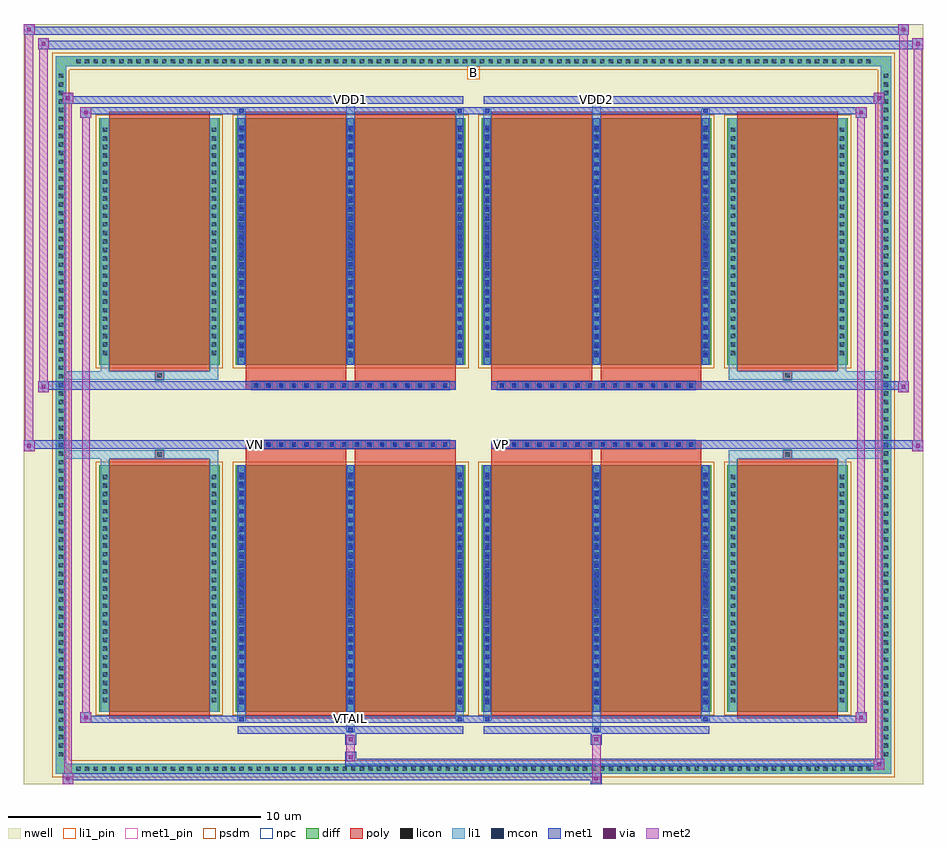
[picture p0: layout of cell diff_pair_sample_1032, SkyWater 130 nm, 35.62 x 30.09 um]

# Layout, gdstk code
import gdstk
lib = gdstk.Library(unit=1e-6, precision=5e-09)
def R(c, l, rs):  # rectangles x0, y0, x1, y1
    for r in rs: c.add(gdstk.rectangle(r[:2], r[2:], *l))
def A(c, l, x, y, w, h, nx, ny, dx, dy):  # array of equal rectangles
    R(c, l, [(x+i*dx, y+j*dy, x+i*dx+w, y+j*dy+h) for i in range(nx) for j in range(ny)])
def P(c, l, *ps):  # polygons
    for p in ps: c.add(gdstk.Polygon(p, *l))
nwell = (64, 20)
diff = (65, 20)
poly = (66, 20)
licon = (66, 44)
li1_pin = (67, 16)
li1 = (67, 20)
mcon = (67, 44)
met1_pin = (68, 16)
met1 = (68, 20)
via = (68, 44)
met2 = (69, 20)
psdm = (94, 20)
npc = (95, 20)

diff_pair_sample_1032 = lib.new_cell('diff_pair_sample_1032')
R(diff_pair_sample_1032, nwell, [(-17.81,-14.61,17.81,15.48), (-15.13,-12.8,-0.01,-0.8), (0.01,-12.8,15.13,-0.8), (-15.13,0.8,-0.01,12.8), (0.01,0.8,15.13,12.8)])
A(diff_pair_sample_1032, diff, -15.845, -14.21, 0.41, 0.41, 93, 2, 0.34, 28.01)
A(diff_pair_sample_1032, diff, -16.54, -13.635, 0.41, 0.41, 1, 80, 0, 0.34)
A(diff_pair_sample_1032, diff, 16.13, -13.635, 0.41, 0.41, 1, 80, 0, 0.34)
R(diff_pair_sample_1032, diff, [(-15.845,-14.21,15.845,-13.8), (-16.54,-13.635,-16.13,13.635), (16.13,-13.635,16.54,13.635), (-14.82,-11.755,-10.05,-1.985), (-9.41,-11.755,-0.32,-1.985), (0.32,-11.755,9.41,-1.985), (10.05,-11.755,14.82,-1.985), (-14.82,1.985,-10.05,11.755), (-9.41,1.985,-0.32,11.755), (0.32,1.985,9.41,11.755), (10.05,1.985,14.82,11.755), (-15.845,13.8,15.845,14.21)])
P(diff_pair_sample_1032, diff, [(16.54,14.21),(-16.54,14.21),(-16.54,-13.8),(-16.13,-13.8),(-16.13,13.8),(16.13,13.8),(16.13,-13.8),(-16.13,-13.8),(-16.54,-13.8),(-16.54,-14.21),(16.54,-14.21)])
A(diff_pair_sample_1032, poly, -8.78, -1.33, 0.33, 0.33, 16, 2, 0.5, 2.33)
A(diff_pair_sample_1032, poly, 0.95, -1.33, 0.33, 0.33, 16, 2, 0.5, 2.33)
R(diff_pair_sample_1032, poly, [(-14.43,-12.005,-10.44,-1.735), (-9.02,-12.005,-5.03,-1.735), (-4.7,-12.005,-0.71,-1.735), (0.71,-12.005,4.7,-1.735), (5.03,-12.005,9.02,-1.735), (10.44,-12.005,14.43,-1.735), (-12.6,-1.735,-12.27,-1.405), (-12.6,-1.735,-12.27,-1.405), (-9.02,-1.735,-5.03,-1.33), (-4.7,-1.735,-0.71,-1.33), (0.71,-1.735,4.7,-1.33), (5.03,-1.735,9.02,-1.33), (12.27,-1.735,12.6,-1.405), (12.27,-1.735,12.6,-1.405), (-9.02,-1.33,-0.71,-1), (0.71,-1.33,9.02,-1), (-9.02,1,-0.71,1.33), (0.71,1,9.02,1.33), (-9.02,1.33,-5.03,1.735), (-4.7,1.33,-0.71,1.735), (0.71,1.33,4.7,1.735), (5.03,1.33,9.02,1.735), (-12.6,1.405,-12.27,1.735), (-12.6,1.405,-12.27,1.735), (12.27,1.405,12.6,1.735), (12.27,1.405,12.6,1.735), (-14.43,1.735,-10.44,12.005), (-9.02,1.735,-5.03,12.005), (-4.7,1.735,-0.71,12.005), (0.71,1.735,4.7,12.005), (5.03,1.735,9.02,12.005), (10.44,1.735,14.43,12.005)])
A(diff_pair_sample_1032, licon, -15.725, -14.09, 0.17, 0.17, 93, 2, 0.34, 28.01)
A(diff_pair_sample_1032, licon, -16.42, -13.515, 0.17, 0.17, 1, 80, 0, 0.34)
A(diff_pair_sample_1032, licon, 16.25, -13.515, 0.17, 0.17, 1, 80, 0, 0.34)
A(diff_pair_sample_1032, licon, -14.68, -11.375, 0.17, 0.17, 1, 27, 0, 0.34)
A(diff_pair_sample_1032, licon, -10.36, -11.375, 0.17, 0.17, 1, 27, 0, 0.34)
A(diff_pair_sample_1032, licon, -9.27, -11.375, 0.17, 0.17, 3, 27, 4.32, 0.34)
A(diff_pair_sample_1032, licon, 0.46, -11.375, 0.17, 0.17, 3, 27, 4.32, 0.34)
A(diff_pair_sample_1032, licon, 10.19, -11.375, 0.17, 0.17, 1, 27, 0, 0.34)
A(diff_pair_sample_1032, licon, 14.51, -11.375, 0.17, 0.17, 1, 27, 0, 0.34)
A(diff_pair_sample_1032, licon, -8.7, -1.25, 0.17, 0.17, 16, 2, 0.5, 2.33)
A(diff_pair_sample_1032, licon, 1.03, -1.25, 0.17, 0.17, 16, 2, 0.5, 2.33)
A(diff_pair_sample_1032, licon, -14.68, 2.365, 0.17, 0.17, 1, 27, 0, 0.34)
A(diff_pair_sample_1032, licon, -10.36, 2.365, 0.17, 0.17, 1, 27, 0, 0.34)
A(diff_pair_sample_1032, licon, -9.27, 2.365, 0.17, 0.17, 3, 27, 4.32, 0.34)
A(diff_pair_sample_1032, licon, 0.46, 2.365, 0.17, 0.17, 3, 27, 4.32, 0.34)
A(diff_pair_sample_1032, licon, 10.19, 2.365, 0.17, 0.17, 1, 27, 0, 0.34)
A(diff_pair_sample_1032, licon, 14.51, 2.365, 0.17, 0.17, 1, 27, 0, 0.34)
R(diff_pair_sample_1032, licon, [(-12.52,-1.655,-12.35,-1.485), (12.35,-1.655,12.52,-1.485), (-12.52,1.485,-12.35,1.655), (12.35,1.485,12.52,1.655)])
R(diff_pair_sample_1032, li1_pin, [(-0.25,13.3,0.25,13.8)])
A(diff_pair_sample_1032, li1, -15.805, -14.17, 0.33, 0.33, 93, 2, 0.34, 28.01)
A(diff_pair_sample_1032, li1, -16.5, -13.595, 0.33, 0.33, 1, 80, 0, 0.34)
A(diff_pair_sample_1032, li1, 16.17, -13.595, 0.33, 0.33, 1, 80, 0, 0.34)
A(diff_pair_sample_1032, li1, -9.35, -11.755, 0.33, 9.77, 3, 2, 4.32, 13.74)
A(diff_pair_sample_1032, li1, 0.38, -11.755, 0.33, 9.77, 3, 2, 4.32, 13.74)
A(diff_pair_sample_1032, li1, -14.76, -11.455, 0.33, 0.33, 1, 27, 0, 0.34)
A(diff_pair_sample_1032, li1, -10.44, -11.455, 0.33, 0.33, 1, 27, 0, 0.34)
A(diff_pair_sample_1032, li1, -9.35, -11.455, 0.33, 0.33, 3, 27, 4.32, 0.34)
A(diff_pair_sample_1032, li1, -9.27, -11.455, 0.17, 0.17, 3, 26, 4.32, 0.36)
A(diff_pair_sample_1032, li1, -9.27, -11.455, 0.17, 9.17, 3, 2, 4.32, 13.74)
A(diff_pair_sample_1032, li1, 0.38, -11.455, 0.33, 0.33, 3, 27, 4.32, 0.34)
A(diff_pair_sample_1032, li1, 0.46, -11.455, 0.17, 0.17, 3, 26, 4.32, 0.36)
A(diff_pair_sample_1032, li1, 0.46, -11.455, 0.17, 9.17, 3, 2, 4.32, 13.74)
A(diff_pair_sample_1032, li1, 10.11, -11.455, 0.33, 0.33, 1, 27, 0, 0.34)
A(diff_pair_sample_1032, li1, 14.43, -11.455, 0.33, 0.33, 1, 27, 0, 0.34)
A(diff_pair_sample_1032, li1, -8.78, -1.33, 0.33, 0.33, 16, 2, 0.5, 2.33)
A(diff_pair_sample_1032, li1, 0.95, -1.33, 0.33, 0.33, 16, 2, 0.5, 2.33)
A(diff_pair_sample_1032, li1, -14.76, 2.285, 0.33, 0.33, 1, 27, 0, 0.34)
A(diff_pair_sample_1032, li1, -10.44, 2.285, 0.33, 0.33, 1, 27, 0, 0.34)
A(diff_pair_sample_1032, li1, -9.35, 2.285, 0.33, 0.33, 3, 27, 4.32, 0.34)
A(diff_pair_sample_1032, li1, -9.27, 2.285, 0.17, 0.17, 3, 26, 4.32, 0.36)
A(diff_pair_sample_1032, li1, 0.38, 2.285, 0.33, 0.33, 3, 27, 4.32, 0.34)
A(diff_pair_sample_1032, li1, 0.46, 2.285, 0.17, 0.17, 3, 26, 4.32, 0.36)
A(diff_pair_sample_1032, li1, 10.11, 2.285, 0.33, 0.33, 1, 27, 0, 0.34)
A(diff_pair_sample_1032, li1, 14.43, 2.285, 0.33, 0.33, 1, 27, 0, 0.34)
R(diff_pair_sample_1032, li1, [(-16.54,-14.21,-16.13,-13.8), (-16.54,-14.21,-16.13,-13.8), (-16.13,-14.21,16.13,-13.8), (16.13,-14.21,16.54,-13.8), (16.13,-14.21,16.54,-13.8), (-16.54,-13.8,-16.13,13.8), (16.13,-13.8,16.54,13.8), (-5.03,-12.56,-4.7,-11.755), (-4.95,-12.56,-4.78,-12.39), (4.7,-12.56,5.03,-11.755), (4.78,-12.56,4.95,-12.39), (-9.35,-12.13,-9.02,-11.755), (-9.27,-12.13,-9.1,-11.96), (-0.71,-12.13,-0.38,-11.755), (-0.63,-12.13,-0.46,-11.96), (0.38,-12.13,0.71,-11.755), (0.46,-12.13,0.63,-11.96), (9.02,-12.13,9.35,-11.755), (9.1,-12.13,9.27,-11.96), (-14.76,-11.755,-14.43,-1.985), (-10.44,-11.755,-10.11,-1.985), (10.11,-11.755,10.44,-1.985), (14.43,-11.755,14.76,-1.985), (-14.76,-1.985,-14.43,-1.405), (-10.44,-1.985,-10.11,-1.405), (10.11,-1.985,10.44,-1.405), (14.43,-1.985,14.76,-1.405), (-16.54,-1.735,-12.6,-1.405), (-14.76,-1.735,-12.6,-1.405), (-12.6,-1.735,-12.27,-1.405), (-12.27,-1.735,-10.11,-1.405), (10.11,-1.735,12.27,-1.405), (12.27,-1.735,12.6,-1.405), (12.27,-1.735,16.54,-1.405), (12.6,-1.735,14.76,-1.405), (-16.54,1.405,-12.6,1.735), (-14.76,1.405,-12.6,1.735), (-14.76,1.405,-14.43,1.985), (-12.6,1.405,-12.27,1.735), (-12.27,1.405,-10.11,1.735), (-10.44,1.405,-10.11,1.985), (10.11,1.405,12.27,1.735), (10.11,1.405,10.44,1.985), (12.27,1.405,12.6,1.735), (12.27,1.405,16.54,1.735), (12.6,1.405,14.76,1.735), (14.43,1.405,14.76,1.985), (-14.76,1.985,-14.43,11.755), (-10.44,1.985,-10.11,11.755), (10.11,1.985,10.44,11.755), (14.43,1.985,14.76,11.755), (-9.35,11.755,-9.02,12.13), (-5.03,11.755,-4.7,12.56), (-0.71,11.755,-0.38,12.13), (0.38,11.755,0.71,12.13), (4.7,11.755,5.03,12.56), (9.02,11.755,9.35,12.13), (-9.27,11.96,-9.1,12.13), (-0.63,11.96,-0.46,12.13), (0.46,11.96,0.63,12.13), (9.1,11.96,9.27,12.13), (-4.95,12.39,-4.78,12.56), (4.78,12.39,4.95,12.56), (-16.54,13.8,-16.13,14.21), (-16.54,13.8,-16.13,14.21), (-16.13,13.8,16.13,14.21), (16.13,13.8,16.54,14.21), (16.13,13.8,16.54,14.21)])
A(diff_pair_sample_1032, mcon, -9.27, -11.455, 0.17, 0.17, 3, 26, 4.32, 0.36)
A(diff_pair_sample_1032, mcon, 0.46, -11.455, 0.17, 0.17, 3, 26, 4.32, 0.36)
A(diff_pair_sample_1032, mcon, -8.7, -1.25, 0.17, 0.17, 16, 2, 0.5, 2.33)
A(diff_pair_sample_1032, mcon, 1.03, -1.25, 0.17, 0.17, 16, 2, 0.5, 2.33)
A(diff_pair_sample_1032, mcon, -9.27, 2.285, 0.17, 0.17, 3, 26, 4.32, 0.36)
A(diff_pair_sample_1032, mcon, 0.46, 2.285, 0.17, 0.17, 3, 26, 4.32, 0.36)
R(diff_pair_sample_1032, mcon, [(-4.95,-12.56,-4.78,-12.39), (4.78,-12.56,4.95,-12.39), (-9.27,-12.13,-9.1,-11.96), (-0.63,-12.13,-0.46,-11.96), (0.46,-12.13,0.63,-11.96), (9.1,-12.13,9.27,-11.96), (-9.27,11.96,-9.1,12.13), (-0.63,11.96,-0.46,12.13), (0.46,11.96,0.63,12.13), (9.1,11.96,9.27,12.13), (-4.95,12.39,-4.78,12.56), (4.78,12.39,4.95,12.56)])
R(diff_pair_sample_1032, met1_pin, [(-5,-12.17,-4.73,-11.9), (-8.75,-1.29,-8.48,-1.02), (0.98,-1.29,1.25,-1.02), (-5,12.35,-4.73,12.62), (4.73,12.35,5,12.62)])
A(diff_pair_sample_1032, met1, -9.33, -11.755, 0.29, 9.77, 3, 2, 4.32, 13.74)
A(diff_pair_sample_1032, met1, 0.4, -11.755, 0.29, 9.77, 3, 2, 4.32, 13.74)
A(diff_pair_sample_1032, met1, -9.33, -11.515, 0.29, 0.29, 3, 26, 4.32, 0.36)
A(diff_pair_sample_1032, met1, 0.4, -11.515, 0.29, 0.29, 3, 26, 4.32, 0.36)
A(diff_pair_sample_1032, met1, -8.76, -1.31, 0.29, 0.29, 16, 2, 0.5, 2.33)
A(diff_pair_sample_1032, met1, 0.97, -1.31, 0.29, 0.29, 16, 2, 0.5, 2.33)
A(diff_pair_sample_1032, met1, -9.33, 2.225, 0.29, 0.29, 3, 26, 4.32, 0.36)
A(diff_pair_sample_1032, met1, 0.4, 2.225, 0.29, 0.29, 3, 26, 4.32, 0.36)
R(diff_pair_sample_1032, met1, [(-16.27,-14.61,-15.84,-14.18), (4.65,-14.61,5.08,-14.18), (-16.27,-14.47,5.08,-14.18), (15.84,-14.04,16.27,-13.61), (-5.08,-13.9,16.27,-13.61), (-5.08,-13.76,-4.65,-13.33), (-5.08,-13.05,-4.65,-12.62), (4.65,-13.05,5.08,-12.62), (-9.33,-12.62,-0.4,-12.33), (-5.01,-12.62,-4.72,-12.33), (0.4,-12.62,9.33,-12.33), (4.72,-12.62,5.01,-12.33), (-15.56,-12.19,-15.13,-11.76), (-15.56,-12.19,-9.33,-11.9), (-9.33,-12.19,-9.04,-11.9), (-9.33,-12.19,-0.4,-11.9), (-0.69,-12.19,-0.4,-11.9), (-0.4,-12.19,0.4,-11.9), (0.4,-12.19,0.69,-11.9), (0.4,-12.19,9.33,-11.9), (9.04,-12.19,9.33,-11.9), (9.33,-12.19,15.56,-11.9), (15.13,-12.19,15.56,-11.76), (-17.81,-1.43,-17.38,-1), (17.38,-1.43,17.81,-1), (-17.81,-1.33,-0.71,-1), (-9.02,-1.33,-0.71,-1), (0.71,-1.33,9.02,-1), (0.71,-1.33,17.81,-1), (-17.24,0.9,-16.81,1.33), (16.81,0.9,17.24,1.33), (-17.24,1,-9.02,1.33), (-9.02,1,-0.71,1.33), (0.71,1,9.02,1.33), (9.02,1,17.24,1.33), (-15.56,11.76,-15.13,12.19), (15.13,11.76,15.56,12.19), (-15.56,11.9,-9.33,12.19), (-9.33,11.9,-9.04,12.19), (-9.33,11.9,-0.4,12.19), (-0.69,11.9,-0.4,12.19), (-0.4,11.9,0.4,12.19), (0.4,11.9,0.69,12.19), (0.4,11.9,9.33,12.19), (9.04,11.9,9.33,12.19), (9.33,11.9,15.56,12.19), (-16.27,12.33,-15.84,12.76), (-16.27,12.33,-9.33,12.62), (-9.33,12.33,-0.4,12.62), (-5.01,12.33,-4.72,12.62), (0.4,12.33,9.33,12.62), (4.72,12.33,5.01,12.62), (9.33,12.33,16.27,12.62), (15.84,12.33,16.27,12.76), (-17.24,14.48,-16.81,14.91), (-17.24,14.48,-15.13,14.81), (-15.13,14.48,15.13,14.81), (15.13,14.48,17.81,14.81), (17.38,14.48,17.81,14.91), (-17.81,15.05,-17.38,15.48), (-17.81,15.05,-15.13,15.38), (-15.13,15.05,15.13,15.38), (15.13,15.05,17.24,15.38), (16.81,15.05,17.24,15.48)])
R(diff_pair_sample_1032, via, [(-16.13,-14.47,-15.98,-14.32), (4.79,-14.47,4.94,-14.32), (15.98,-13.9,16.13,-13.75), (-4.94,-13.62,-4.79,-13.47), (-4.94,-12.91,-4.79,-12.76), (4.79,-12.91,4.94,-12.76), (-15.42,-12.05,-15.27,-11.9), (15.27,-12.05,15.42,-11.9), (-17.67,-1.29,-17.52,-1.14), (17.52,-1.29,17.67,-1.14), (-17.1,1.04,-16.95,1.19), (16.95,1.04,17.1,1.19), (-15.42,11.9,-15.27,12.05), (15.27,11.9,15.42,12.05), (-16.13,12.47,-15.98,12.62), (15.98,12.47,16.13,12.62), (-17.1,14.62,-16.95,14.77), (17.52,14.62,17.67,14.77), (-17.67,15.19,-17.52,15.34), (16.95,15.19,17.1,15.34)])
R(diff_pair_sample_1032, met2, [(-16.27,-14.61,-15.84,-14.18), (-16.2,-14.61,-15.91,12.76), (-15.91,-14.61,-15.84,-14.18), (-16.22,-14.56,-15.89,-14.23), (4.7,-14.56,5.03,-14.23), (4.7,-14.23,5.03,-13), (15.84,-14.04,16.27,-13.61), (15.91,-14.04,16.2,12.76), (16.2,-14.04,16.27,-13.61), (15.89,-13.99,16.22,-13.66), (-5.03,-13.71,-4.7,-13.38), (-5.03,-13.38,-4.7,-13), (-5.03,-13,-4.7,-12.67), (4.7,-13,5.03,-12.67), (-15.56,-12.19,-15.13,-11.76), (-15.49,-12.19,-15.2,12.19), (-15.2,-12.19,-15.13,-11.76), (15.13,-12.19,15.56,-11.76), (15.2,-12.19,15.49,12.19), (15.49,-12.19,15.56,-11.76), (-15.51,-12.14,-15.18,-11.81), (15.18,-12.14,15.51,-11.81), (-17.81,-1.43,-17.38,-1), (-17.76,-1.43,-17.43,15.48), (-17.43,-1.43,-17.38,-1), (17.38,-1.43,17.81,-1), (17.43,-1.43,17.76,14.91), (17.76,-1.43,17.81,-1), (-17.76,-1.38,-17.43,-1.05), (17.43,-1.38,17.76,-1.05), (-17.24,0.9,-16.81,1.33), (-17.19,0.9,-16.86,14.91), (-16.86,0.9,-16.81,1.33), (16.81,0.9,17.24,1.33), (16.86,0.9,17.19,15.48), (17.19,0.9,17.24,1.33), (-17.19,0.95,-16.86,1.28), (16.86,0.95,17.19,1.28), (-15.56,11.76,-15.13,12.19), (-15.2,11.76,-15.13,12.19), (15.13,11.76,15.56,12.19), (15.49,11.76,15.56,12.19), (-15.51,11.81,-15.18,12.14), (15.18,11.81,15.51,12.14), (-16.27,12.33,-15.84,12.76), (-15.91,12.33,-15.84,12.76), (15.84,12.33,16.27,12.76), (16.2,12.33,16.27,12.76), (-16.22,12.38,-15.89,12.71), (15.89,12.38,16.22,12.71), (-17.24,14.48,-16.81,14.91), (-16.86,14.48,-16.81,14.91), (17.38,14.48,17.81,14.91), (17.76,14.48,17.81,14.91), (-17.19,14.53,-16.86,14.86), (17.43,14.53,17.76,14.86), (-17.81,15.05,-17.38,15.48), (-17.43,15.05,-17.38,15.48), (16.81,15.05,17.24,15.48), (17.19,15.05,17.24,15.48), (-17.76,15.1,-17.43,15.43), (16.86,15.1,17.19,15.43)])
R(diff_pair_sample_1032, psdm, [(-14.95,-11.885,-9.92,-1.855), (-9.54,-11.885,-0.19,-1.855), (0.19,-11.885,9.54,-1.855), (9.92,-11.885,14.95,-1.855), (-14.95,1.855,-9.92,11.885), (-9.54,1.855,-0.19,11.885), (0.19,1.855,9.54,11.885), (9.92,1.855,14.95,11.885)])
P(diff_pair_sample_1032, psdm, [(16.67,14.34),(-16.67,14.34),(-16.67,-13.67),(-16,-13.67),(-16,13.67),(16,13.67),(16,-13.67),(-16,-13.67),(-16.67,-13.67),(-16.67,-14.34),(16.67,-14.34)])
A(diff_pair_sample_1032, npc, -8.8, -1.35, 0.37, 0.37, 16, 2, 0.5, 2.33)
A(diff_pair_sample_1032, npc, 0.93, -1.35, 0.37, 0.37, 16, 2, 0.5, 2.33)
R(diff_pair_sample_1032, npc, [(-12.62,-1.755,-12.25,-1.385), (12.25,-1.755,12.62,-1.385), (-8.8,-1.35,-7.93,-0.98), (-8.8,-1.35,-7.93,-0.98), (-8.3,-1.35,-7.43,-0.98), (-8.3,-1.35,-7.43,-0.98), (-7.8,-1.35,-6.93,-0.98), (-7.8,-1.35,-6.93,-0.98), (-7.3,-1.35,-6.43,-0.98), (-7.3,-1.35,-6.43,-0.98), (-6.8,-1.35,-5.93,-0.98), (-6.8,-1.35,-5.93,-0.98), (-6.3,-1.35,-5.43,-0.98), (-6.3,-1.35,-5.43,-0.98), (-5.8,-1.35,-4.93,-0.98), (-5.8,-1.35,-4.93,-0.98), (-5.3,-1.35,-4.43,-0.98), (-5.3,-1.35,-4.43,-0.98), (-4.8,-1.35,-3.93,-0.98), (-4.8,-1.35,-3.93,-0.98), (-4.3,-1.35,-3.43,-0.98), (-4.3,-1.35,-3.43,-0.98), (-3.8,-1.35,-2.93,-0.98), (-3.8,-1.35,-2.93,-0.98), (-3.3,-1.35,-2.43,-0.98), (-3.3,-1.35,-2.43,-0.98), (-2.8,-1.35,-1.93,-0.98), (-2.8,-1.35,-1.93,-0.98), (-2.3,-1.35,-1.43,-0.98), (-2.3,-1.35,-1.43,-0.98), (-1.8,-1.35,-0.93,-0.98), (-1.8,-1.35,-0.93,-0.98), (0.93,-1.35,1.8,-0.98), (0.93,-1.35,1.8,-0.98), (1.43,-1.35,2.3,-0.98), (1.43,-1.35,2.3,-0.98), (1.93,-1.35,2.8,-0.98), (1.93,-1.35,2.8,-0.98), (2.43,-1.35,3.3,-0.98), (2.43,-1.35,3.3,-0.98), (2.93,-1.35,3.8,-0.98), (2.93,-1.35,3.8,-0.98), (3.43,-1.35,4.3,-0.98), (3.43,-1.35,4.3,-0.98), (3.93,-1.35,4.8,-0.98), (3.93,-1.35,4.8,-0.98), (4.43,-1.35,5.3,-0.98), (4.43,-1.35,5.3,-0.98), (4.93,-1.35,5.8,-0.98), (4.93,-1.35,5.8,-0.98), (5.43,-1.35,6.3,-0.98), (5.43,-1.35,6.3,-0.98), (5.93,-1.35,6.8,-0.98), (5.93,-1.35,6.8,-0.98), (6.43,-1.35,7.3,-0.98), (6.43,-1.35,7.3,-0.98), (6.93,-1.35,7.8,-0.98), (6.93,-1.35,7.8,-0.98), (7.43,-1.35,8.3,-0.98), (7.43,-1.35,8.3,-0.98), (7.93,-1.35,8.8,-0.98), (7.93,-1.35,8.8,-0.98), (-8.8,0.98,-7.93,1.35), (-8.8,0.98,-7.93,1.35), (-8.3,0.98,-7.43,1.35), (-8.3,0.98,-7.43,1.35), (-7.8,0.98,-6.93,1.35), (-7.8,0.98,-6.93,1.35), (-7.3,0.98,-6.43,1.35), (-7.3,0.98,-6.43,1.35), (-6.8,0.98,-5.93,1.35), (-6.8,0.98,-5.93,1.35), (-6.3,0.98,-5.43,1.35), (-6.3,0.98,-5.43,1.35), (-5.8,0.98,-4.93,1.35), (-5.8,0.98,-4.93,1.35), (-5.3,0.98,-4.43,1.35), (-5.3,0.98,-4.43,1.35), (-4.8,0.98,-3.93,1.35), (-4.8,0.98,-3.93,1.35), (-4.3,0.98,-3.43,1.35), (-4.3,0.98,-3.43,1.35), (-3.8,0.98,-2.93,1.35), (-3.8,0.98,-2.93,1.35), (-3.3,0.98,-2.43,1.35), (-3.3,0.98,-2.43,1.35), (-2.8,0.98,-1.93,1.35), (-2.8,0.98,-1.93,1.35), (-2.3,0.98,-1.43,1.35), (-2.3,0.98,-1.43,1.35), (-1.8,0.98,-0.93,1.35), (-1.8,0.98,-0.93,1.35), (0.93,0.98,1.8,1.35), (0.93,0.98,1.8,1.35), (1.43,0.98,2.3,1.35), (1.43,0.98,2.3,1.35), (1.93,0.98,2.8,1.35), (1.93,0.98,2.8,1.35), (2.43,0.98,3.3,1.35), (2.43,0.98,3.3,1.35), (2.93,0.98,3.8,1.35), (2.93,0.98,3.8,1.35), (3.43,0.98,4.3,1.35), (3.43,0.98,4.3,1.35), (3.93,0.98,4.8,1.35), (3.93,0.98,4.8,1.35), (4.43,0.98,5.3,1.35), (4.43,0.98,5.3,1.35), (4.93,0.98,5.8,1.35), (4.93,0.98,5.8,1.35), (5.43,0.98,6.3,1.35), (5.43,0.98,6.3,1.35), (5.93,0.98,6.8,1.35), (5.93,0.98,6.8,1.35), (6.43,0.98,7.3,1.35), (6.43,0.98,7.3,1.35), (6.93,0.98,7.8,1.35), (6.93,0.98,7.8,1.35), (7.43,0.98,8.3,1.35), (7.43,0.98,8.3,1.35), (7.93,0.98,8.8,1.35), (7.93,0.98,8.8,1.35), (-12.62,1.385,-12.25,1.755), (12.25,1.385,12.62,1.755)])
diff_pair_sample_1032.add(gdstk.Label('VTAIL', (-4.865,-12.035), layer=68, texttype=5))
diff_pair_sample_1032.add(gdstk.Label('VN', (-8.615,-1.155), layer=68, texttype=5))
diff_pair_sample_1032.add(gdstk.Label('VP', (1.115,-1.155), layer=68, texttype=5))
diff_pair_sample_1032.add(gdstk.Label('B', (0,13.55), layer=67, texttype=5))
diff_pair_sample_1032.add(gdstk.Label('VDD2', (4.865,12.485), layer=68, texttype=5))
diff_pair_sample_1032.add(gdstk.Label('VDD1', (-4.865,12.485), layer=68, texttype=5))

lib.write_gds('diff_pair_sample_1032.gds')
